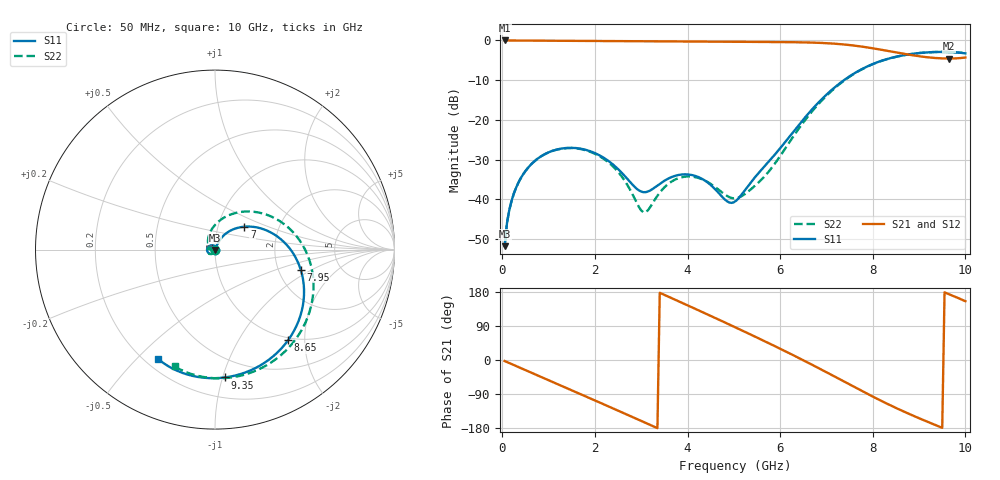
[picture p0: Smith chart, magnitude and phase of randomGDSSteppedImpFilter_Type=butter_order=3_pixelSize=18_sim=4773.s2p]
! freq	dB(S11)	phase(S11)	dB(S12)	phase(S12)
!  dB(S21)	phase(S21)	dB(S22)	phase(S22)
!S-par simulation data
#  GHz  S  DB  R 50
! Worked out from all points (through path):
!   200 points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, 50 MHz to 10 GHz, reference 50 ohm
!   highest |S21| = 0.00 dB at 50 MHz (marker M1); lowest = -4.6 dB at 9.65 GHz (marker M2)
!   group delay of S21, straight-line fit = 160 ps
!   lowest |S11| = -51.8 dB at 50 MHz (marker M3), VSWR 1.01, Z = 50 - j0.256 ohm
!   |S11| at or under -10 dB: start of sweep to 7.379 GHz
!   |S22| runs from -51.8 to -2.9 dB; largest |S21 - S12| = 0
!   S11 on the Smith chart (normalised r, x): 50 MHz: 1.00, -0.01; 7 GHz: 1.34, +0.36; 7.95 GHz: 2.66, -0.78; 8.65 GHz: 0.95, -1.66; 9.35 GHz: 0.35, -1.02; 10 GHz: 0.25, -0.58
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0.05  -51.82 -88.6  -0.00 -2.7  -0.00 -2.7  -51.83 -88.6
0.1  -46.11 -91.9  -0.01 -5.4  -0.01 -5.4  -46.10 -91.5
0.2  -40.42 -99.0  -0.02 -10.7  -0.02 -10.7  -40.41 -98.0
0.55  -32.16 -121.3  -0.04 -29.4  -0.04 -29.4  -32.16 -118.2
1.2  -27.42 -159.7  -0.08 -64.0  -0.08 -64.0  -27.45 -152.0
1.75  -27.41 166.6  -0.11 -93.3  -0.11 -93.3  -27.51 -178.7
2.45  -31.86 113.8  -0.15 -130.9  -0.15 -130.9  -32.47 153.3
3.05  -38.23 19.9  -0.20 -163.5  -0.20 -163.5  -43.31 -168.6
3.4  -36.13 -42.8  -0.22 177.4  -0.22 177.4  -38.35 -124.3
4.1  -33.93 -108.4  -0.28 138.8  -0.28 138.8  -34.32 -139.1
4.6  -37.53 -154.0  -0.31 110.8  -0.31 110.8  -36.97 -150.0
5.05  -40.37 120.6  -0.34 85.2  -0.34 85.2  -39.76 -134.1
6  -27.16 64.6  -0.41 29.7  -0.41 29.7  -29.13 160.7
6.7  -17.23 50.6  -0.55 -13.2  -0.55 -13.2  -17.73 92.8
7  -13.66 38.0  -0.69 -32.3  -0.69 -32.3  -13.93 69.6
7.5  -9.03 12.1  -1.16 -64.7  -1.16 -64.7  -9.14 33.6
7.95  -6.19 -13.1  -1.88 -93.5  -1.88 -93.5  -6.24 3.3
8.35  -4.55 -35.3  -2.70 -117.8  -2.70 -117.8  -4.57 -21.8
8.65  -3.76 -51.2  -3.33 -134.9  -3.33 -134.9  -3.76 -39.2
9.35  -2.92 -85.7  -4.42 -171.5  -4.42 -171.5  -2.91 -76.0
9.65  -2.92 -100.0  -4.56 173.5  -4.56 173.5  -2.90 -91.0
10  -3.26 -117.5  -4.31 155.1  -4.31 155.1  -3.24 -109.0
